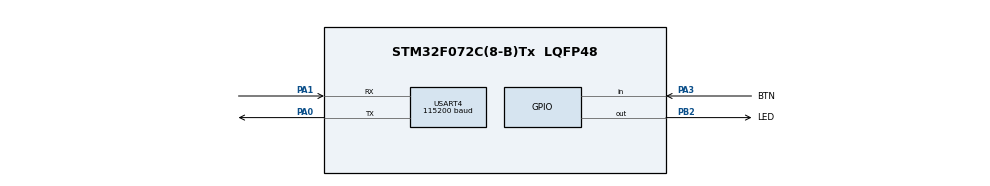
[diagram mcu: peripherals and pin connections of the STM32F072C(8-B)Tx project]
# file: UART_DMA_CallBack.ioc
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Dma.Request0=USART4_RX
Dma.Request1=USART4_TX
Dma.USART4_RX.0.Direction=DMA_PERIPH_TO_MEMORY
Dma.USART4_RX.0.Instance=DMA1_Channel6
Dma.USART4_RX.0.MemDataAlignment=DMA_MDATAALIGN_BYTE
Dma.USART4_RX.0.MemInc=DMA_MINC_ENABLE
Dma.USART4_RX.0.Mode=DMA_NORMAL
Dma.USART4_RX.0.PeriphDataAlignment=DMA_PDATAALIGN_BYTE
Dma.USART4_RX.0.PeriphInc=DMA_PINC_DISABLE
Dma.USART4_RX.0.Priority=DMA_PRIORITY_LOW
Dma.USART4_TX.1.Direction=DMA_MEMORY_TO_PERIPH
Dma.USART4_TX.1.Instance=DMA1_Channel7
Dma.USART4_TX.1.MemDataAlignment=DMA_MDATAALIGN_BYTE
Dma.USART4_TX.1.MemInc=DMA_MINC_ENABLE
Dma.USART4_TX.1.Mode=DMA_NORMAL
Dma.USART4_TX.1.PeriphDataAlignment=DMA_PDATAALIGN_BYTE
Dma.USART4_TX.1.PeriphInc=DMA_PINC_DISABLE
Dma.USART4_TX.1.Priority=DMA_PRIORITY_LOW
Mcu.Family=STM32F0
Mcu.Name=STM32F072C(8-B)Tx
Mcu.Package=LQFP48
NVIC.DMA1_Channel4_5_6_7_IRQn=true\:0\:0\:false\:false\:true\:false\:true
NVIC.USART3_4_IRQn=true\:0\:0\:false\:false\:true\:true\:true
PA0.Mode=Asynchronous
PA0.Signal=USART4_TX
PA1.Mode=Asynchronous
PA1.Signal=USART4_RX
PA3.GPIO_Label=BTN
PA3.Signal=GPIO_Input
PB2.GPIO_Label=LED
PB2.Signal=GPIO_Output
ProjectManager.HeapSize=0x200
ProjectManager.StackSize=0x400
ProjectManager.TargetToolchain=STM32CubeIDE
USART4.BaudRate=115200
USART4.Parity=PARITY_EVEN
USART4.VirtualMode-Asynchronous=VM_ASYNC
USART4.WordLength=WORDLENGTH_9B
board=custom

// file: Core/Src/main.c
/* USER CODE BEGIN Header */
/**
  ******************************************************************************
  * @file           : main.c
  * @brief          : Main program body
  ******************************************************************************
  * @attention
  *
  * <h2><center>&copy; Copyright (c) 2021 STMicroelectronics.
  * All rights reserved.</center></h2>
  *
  * This software component is licensed by ST under BSD 3-Clause license,
  * the "License"; You may not use this file except in compliance with the
  * License. You may obtain a copy of the License at:
  *                        opensource.org/licenses/BSD-3-Clause
  *
  ******************************************************************************
  */
/* USER CODE END Header */
#include "main.h"

UART_HandleTypeDef huart4;
DMA_HandleTypeDef hdma_usart4_rx;
DMA_HandleTypeDef hdma_usart4_tx;

/* USER CODE BEGIN PV */
int btn_prev = 0; /*предыдущее состояние кнопки*/
int btn_cur = 0;/*текущее состояние кнопки*/
uint8_t RxData[1];/*Массив данных (1 элемент), которые будем считывать с ПК*/
char TxData[]="Subscribe to Amigo Electric YouTube Channel!\n";/*Массив данных, который будем отправлять на ПК*/
int i = 0;//значение счётчика
int n = 5;//сколько раз будем моргать светодиодом
int count = 0;//Счётчик для организации временной задержки
/* USER CODE END PV */

void SystemClock_Config(void);
static void MX_GPIO_Init(void);
static void MX_DMA_Init(void);
static void MX_USART4_UART_Init(void);

int main(void)
{

  /* MCU Configuration--------------------------------------------------------*/

  /* Reset of all peripherals, Initializes the Flash interface and the Systick. */
  HAL_Init();

  /* Configure the system clock */
  SystemClock_Config();

  /* Initialize all configured peripherals */
  MX_GPIO_Init();
  MX_DMA_Init();
  MX_USART4_UART_Init();
  /* USER CODE BEGIN 2 */
  HAL_UART_Receive_DMA (&huart4, RxData, sizeof(RxData));/*Функция ожидания приёма данных с персонального компьютера
	на контроллер*/
  /* USER CODE END 2 */

  /* Infinite loop */
  /* USER CODE BEGIN WHILE */
  while (1)
  {

	  btn_cur = HAL_GPIO_ReadPin(BTN_GPIO_Port, BTN_Pin);/*Считываем состояние кнопки*/
	  if ((btn_prev == 0) && (btn_cur != 0))/*Если предыдущие состояние 0,
	т.е. кнопка не была нажата, и текущее состояние не равно 0, т.е. кнопка нажата*/ {
		  HAL_UART_Transmit_DMA(&huart4, (uint8_t *)TxData, sizeof(TxData));/*Передадим массив TxData
	с контроллера на персональный компьютер*/
	  }
	  btn_prev = btn_cur;/*Запоминаем текущее состояние кнопки, чтобы исключить ложное срабатывание передачи данных,
	если кнопка останется зажатой*/

    /* USER CODE END WHILE */

  }
}

void SystemClock_Config(void)
{
  RCC_OscInitTypeDef RCC_OscInitStruct = {0};
  RCC_ClkInitTypeDef RCC_ClkInitStruct = {0};

  /** Initializes the RCC Oscillators according to the specified parameters
  * in the RCC_OscInitTypeDef structure.
  */
  RCC_OscInitStruct.OscillatorType = RCC_OSCILLATORTYPE_HSI;
  RCC_OscInitStruct.HSIState = RCC_HSI_ON;
  RCC_OscInitStruct.HSICalibrationValue = RCC_HSICALIBRATION_DEFAULT;
  RCC_OscInitStruct.PLL.PLLState = RCC_PLL_NONE;
  if (HAL_RCC_OscConfig(&RCC_OscInitStruct) != HAL_OK)
  {
    Error_Handler();
  }
  /** Initializes the CPU, AHB and APB buses clocks
  */
  RCC_ClkInitStruct.ClockType = RCC_CLOCKTYPE_HCLK|RCC_CLOCKTYPE_SYSCLK
                              |RCC_CLOCKTYPE_PCLK1;
  RCC_ClkInitStruct.SYSCLKSource = RCC_SYSCLKSOURCE_HSI;
  RCC_ClkInitStruct.AHBCLKDivider = RCC_SYSCLK_DIV1;
  RCC_ClkInitStruct.APB1CLKDivider = RCC_HCLK_DIV1;

  if (HAL_RCC_ClockConfig(&RCC_ClkInitStruct, FLASH_LATENCY_0) != HAL_OK)
  {
    Error_Handler();
  }
}

static void MX_USART4_UART_Init(void)
{

  huart4.Instance = USART4;
  huart4.Init.BaudRate = 115200;
  huart4.Init.WordLength = UART_WORDLENGTH_9B;
  huart4.Init.StopBits = UART_STOPBITS_1;
  huart4.Init.Parity = UART_PARITY_EVEN;
  huart4.Init.Mode = UART_MODE_TX_RX;
  huart4.Init.HwFlowCtl = UART_HWCONTROL_NONE;
  huart4.Init.OverSampling = UART_OVERSAMPLING_16;
  huart4.Init.OneBitSampling = UART_ONE_BIT_SAMPLE_DISABLE;
  huart4.AdvancedInit.AdvFeatureInit = UART_ADVFEATURE_NO_INIT;
  if (HAL_UART_Init(&huart4) != HAL_OK)
  {
    Error_Handler();
  }

}

static void MX_DMA_Init(void)
{

  /* DMA controller clock enable */
  __HAL_RCC_DMA1_CLK_ENABLE();

  /* DMA interrupt init */
  /* DMA1_Channel4_5_6_7_IRQn interrupt configuration */
  HAL_NVIC_SetPriority(DMA1_Channel4_5_6_7_IRQn, 0, 0);
  HAL_NVIC_EnableIRQ(DMA1_Channel4_5_6_7_IRQn);

}

static void MX_GPIO_Init(void)
{
  GPIO_InitTypeDef GPIO_InitStruct = {0};

  /* GPIO Ports Clock Enable */
  __HAL_RCC_GPIOA_CLK_ENABLE();
  __HAL_RCC_GPIOB_CLK_ENABLE();

  /*Configure GPIO pin Output Level */
  HAL_GPIO_WritePin(LED_GPIO_Port, LED_Pin, GPIO_PIN_RESET);

  /*Configure GPIO pin : BTN_Pin */
  GPIO_InitStruct.Pin = BTN_Pin;
  GPIO_InitStruct.Mode = GPIO_MODE_INPUT;
  GPIO_InitStruct.Pull = GPIO_NOPULL;
  HAL_GPIO_Init(BTN_GPIO_Port, &GPIO_InitStruct);

  /*Configure GPIO pin : LED_Pin */
  GPIO_InitStruct.Pin = LED_Pin;
  GPIO_InitStruct.Mode = GPIO_MODE_OUTPUT_PP;
  GPIO_InitStruct.Pull = GPIO_NOPULL;
  GPIO_InitStruct.Speed = GPIO_SPEED_FREQ_LOW;
  HAL_GPIO_Init(LED_GPIO_Port, &GPIO_InitStruct);

}

/* USER CODE BEGIN 4 */
void HAL_UART_TxCpltCallback(UART_HandleTypeDef *huart) {/*Callback функция, срабатываемая после передачи данных
с контроллера на персональный компьютер*/
	if(huart == &huart4) {/*Обязательно проверяем откуда пришёл Callback, если пришёл от используемого UART,
	то начинаем выполнять следующую работу*/

		while(i<=2*n-1) {/*Если "зашли" в Callback, то есть была передача данных с контроллера на персональный
	компьютер, то проверяем значение счётчика i*/
			HAL_GPIO_TogglePin(LED_GPIO_Port, LED_Pin);/*Если i меньше заданного значения,
	то меняем состояние светодиода*/
			i=i+1;//увеличиваем значение i на 1
			while(count<200000){/*Счётчик для организации временной задержки между включением/выключением
	светодиода*/
				count++;/*Пока значение переменной count меньше 200000, то увеличиваем его на 1*/
			};
			count=0;/*После работы цикла счётчика обязательно обнуляем переменную счётчика count*/
		}
		HAL_GPIO_WritePin(LED_GPIO_Port, LED_Pin, GPIO_PIN_RESET);/*принудительно гасим светодиод после выполнения
	цикла моргания*/
		i=0;/*Обязательно обнуляем переменную i*/

	}
}

void HAL_UART_RxCpltCallback(UART_HandleTypeDef *huart) {/*Callback функция, срабатываемая после передачи данных
с персонального компьютера на контроллер*/
	if(huart == &huart4) {/*Обязательно проверяем откуда пришёл Callback, если пришёл от используемого UART,
	то начинаем выполнять следующую работу*/

		if (RxData[0] == '1') {/*Если первый элемент массива равен 1, то*/
			HAL_GPIO_TogglePin(LED_GPIO_Port, LED_Pin);/*Поменяем состояние светодиода*/
		}
		HAL_UART_Receive_DMA (&huart4, RxData, sizeof(RxData));/*Обязательно включим функцию ожидания приёма данных
	с персонального компьютера на контроллер*/

	}
}
/* USER CODE END 4 */

void Error_Handler(void)
{
  __disable_irq();
  while (1)
  {
  }
}

/************************ (C) COPYRIGHT STMicroelectronics *****END OF FILE****/
